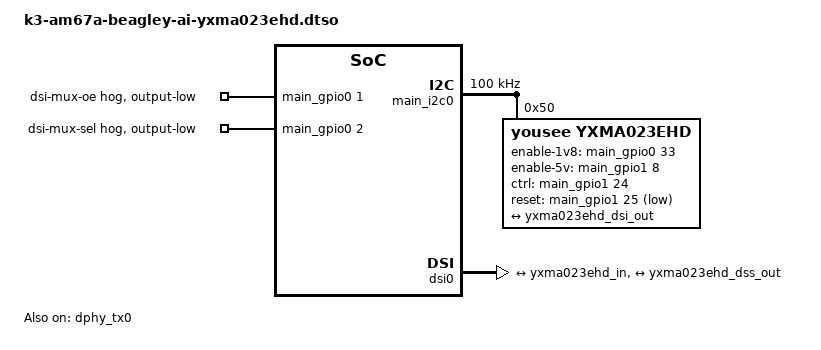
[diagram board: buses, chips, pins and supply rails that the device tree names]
// SPDX-License-Identifier: GPL-2.0-only
/* BeagleY-AI 40-pin adapter, YXMA023EHD panel. */
/dts-v1/;
/plugin/;

#include <dt-bindings/gpio/gpio.h>
#include "k3-pinctrl.h"

&{/} {
	compatible = "beagle,am67a-beagley-ai";
};

&main_pmx0 {
	yxma_pins: yxma-pins {
		pinctrl-single,pins = <
			J722S_IOPAD(0x088, PIN_OUTPUT, 7) /* GPIO0_33: 1V8 */
			J722S_IOPAD(0x198, PIN_OUTPUT, 7) /* GPIO1_8: 5V */
			J722S_IOPAD(0x1d8, PIN_INPUT, 7) /* GPIO1_24: CTRL */
			J722S_IOPAD(0x1dc, PIN_OUTPUT, 7) /* GPIO1_25: RESET */
			J722S_IOPAD(0x004, PIN_OUTPUT, 7) /* GPIO0_1: mux OE */
			J722S_IOPAD(0x008, PIN_OUTPUT, 7) /* GPIO0_2: mux SEL */
		>;
	};
};

&main_gpio0 {
	pinctrl-names = "default";
	pinctrl-0 = <&yxma_pins>;
	yxma-mux-oe-hog {
		gpio-hog;
		gpios = <1 GPIO_ACTIVE_HIGH>;
		output-low;
		line-name = "dsi-mux-oe";
	};

	yxma-mux-sel-hog {
		gpio-hog;
		gpios = <2 GPIO_ACTIVE_HIGH>;
		output-low;
		line-name = "dsi-mux-sel";
	};
};

&main_i2c0 {
	status = "okay";
	pinctrl-names = "default";
	pinctrl-0 = <&main_i2c0_pins_default>;
	clock-frequency = <100000>;
	#address-cells = <1>;
	#size-cells = <0>;

	yxma023ehd: panel@50 {
		compatible = "yousee,yxma023ehd";
		reg = <0x50>;
		status = "okay";
		enable-1v8-gpios = <&main_gpio0 33 GPIO_ACTIVE_HIGH>;
		enable-5v-gpios = <&main_gpio1 8 GPIO_ACTIVE_HIGH>;
		ctrl-gpios = <&main_gpio1 24 GPIO_ACTIVE_HIGH>;
		reset-gpios = <&main_gpio1 25 GPIO_ACTIVE_LOW>;
		port {
			yxma023ehd_in: endpoint {
				remote-endpoint = <&yxma023ehd_dsi_out>;
			};
		};
	};
};

&dphy_tx0 {
	status = "okay";
};

&dsi0 {
	status = "okay";
	ports {
		#address-cells = <1>;
		#size-cells = <0>;
		port@0 {
			reg = <0>;
			yxma023ehd_dsi_out: endpoint {
				remote-endpoint = <&yxma023ehd_in>;
			};
		};
		port@1 {
			reg = <1>;
			yxma023ehd_dsi_in: endpoint {
				remote-endpoint = <&yxma023ehd_dss_out>;
			};
		};
	};
};

&dss1_ports {
	#address-cells = <1>;
	#size-cells = <0>;
	port@1 {
		reg = <1>;
		yxma023ehd_dss_out: endpoint {
			remote-endpoint = <&yxma023ehd_dsi_in>;
		};
	};
};
